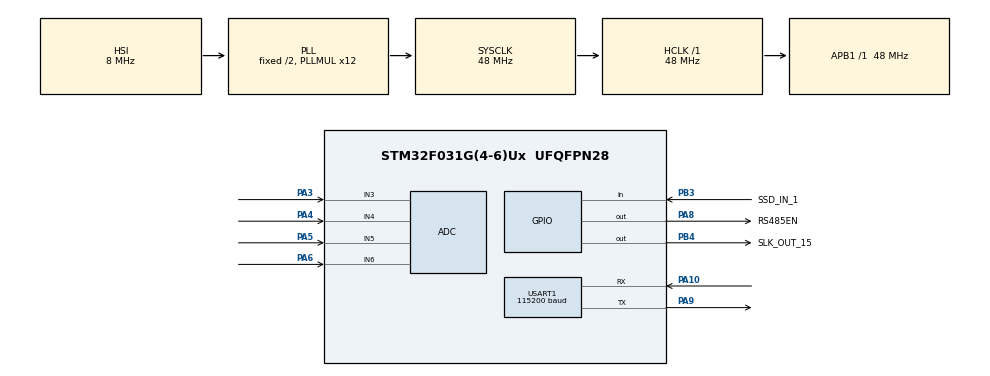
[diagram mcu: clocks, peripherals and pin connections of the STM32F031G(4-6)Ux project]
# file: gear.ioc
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ADC.ContinuousConvMode=ENABLE
ADC.DMAContinuousRequests=ENABLE
Dma.ADC.0.Direction=DMA_PERIPH_TO_MEMORY
Dma.ADC.0.Instance=DMA1_Channel1
Dma.ADC.0.MemDataAlignment=DMA_MDATAALIGN_HALFWORD
Dma.ADC.0.MemInc=DMA_MINC_ENABLE
Dma.ADC.0.Mode=DMA_CIRCULAR
Dma.ADC.0.PeriphDataAlignment=DMA_PDATAALIGN_HALFWORD
Dma.ADC.0.PeriphInc=DMA_PINC_DISABLE
Dma.ADC.0.Priority=DMA_PRIORITY_LOW
Dma.Request0=ADC
Dma.Request1=USART1_RX
Dma.Request2=USART1_TX
Dma.USART1_RX.1.Direction=DMA_PERIPH_TO_MEMORY
Dma.USART1_RX.1.Instance=DMA1_Channel3
Dma.USART1_RX.1.MemDataAlignment=DMA_MDATAALIGN_BYTE
Dma.USART1_RX.1.MemInc=DMA_MINC_ENABLE
Dma.USART1_RX.1.Mode=DMA_NORMAL
Dma.USART1_RX.1.PeriphDataAlignment=DMA_PDATAALIGN_BYTE
Dma.USART1_RX.1.PeriphInc=DMA_PINC_DISABLE
Dma.USART1_RX.1.Priority=DMA_PRIORITY_LOW
Dma.USART1_TX.2.Direction=DMA_MEMORY_TO_PERIPH
Dma.USART1_TX.2.Instance=DMA1_Channel2
Dma.USART1_TX.2.MemDataAlignment=DMA_MDATAALIGN_BYTE
Dma.USART1_TX.2.MemInc=DMA_MINC_ENABLE
Dma.USART1_TX.2.Mode=DMA_NORMAL
Dma.USART1_TX.2.PeriphDataAlignment=DMA_PDATAALIGN_BYTE
Dma.USART1_TX.2.PeriphInc=DMA_PINC_DISABLE
Dma.USART1_TX.2.Priority=DMA_PRIORITY_LOW
Mcu.Family=STM32F0
Mcu.Name=STM32F031G(4-6)Ux
Mcu.Package=UFQFPN28
NVIC.DMA1_Channel1_IRQn=true\:0\:0\:false\:false\:true\:false\:true\:true
NVIC.DMA1_Channel2_3_IRQn=true\:0\:0\:false\:false\:true\:false\:true\:true
PA10.Mode=Asynchronous
PA10.Signal=USART1_RX
PA3.Mode=IN3
PA3.Signal=ADC_IN3
PA4.Mode=IN4
PA4.Signal=ADC_IN4
PA5.Mode=IN5
PA5.Signal=ADC_IN5
PA6.Mode=IN6
PA6.Signal=ADC_IN6
PA8.GPIO_Label=RS485EN
PA8.Signal=GPIO_Output
PA9.Mode=Asynchronous
PA9.Signal=USART1_TX
PB3.GPIO_Label=SSD_IN_1
PB3.GPIO_PuPd=GPIO_PULLUP
PB3.Signal=GPIO_Input
PB4.GPIO_Label=SLK_OUT_15
PB4.Signal=GPIO_Output
PF0-OSC_IN.Mode=HSE-External-Oscillator
PF0-OSC_IN.Signal=RCC_OSC_IN
PF1-OSC_OUT.Mode=HSE-External-Oscillator
PF1-OSC_OUT.Signal=RCC_OSC_OUT
ProjectManager.HeapSize=0x200
ProjectManager.StackSize=0x400
ProjectManager.TargetToolchain=Makefile
RCC.AHBFreq_Value=48000000
RCC.APB1Freq_Value=48000000
RCC.APB1TimFreq_Value=48000000
RCC.HCLKFreq_Value=48000000
RCC.PLLMUL=RCC_PLL_MUL12
RCC.SYSCLKFreq_VALUE=48000000
RCC.SYSCLKSource=RCC_SYSCLKSOURCE_PLLCLK
USART1.BaudRate=115200
USART1.VirtualMode-Asynchronous=VM_ASYNC
board=custom

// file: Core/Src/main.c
/* USER CODE BEGIN Header */
/**
 ******************************************************************************
 * @file           : main.c
 * @brief          : Main program body
 ******************************************************************************
 * @attention
 *
 * Copyright (c) 2024 STMicroelectronics.
 * All rights reserved.
 *
 * This software is licensed under terms that can be found in the LICENSE file
 * in the root directory of this software component.
 * If no LICENSE file comes with this software, it is provided AS-IS.
 *
 ******************************************************************************
 */
/* USER CODE END Header */
#include "main.h"

ADC_HandleTypeDef hadc;
DMA_HandleTypeDef hdma_adc;

UART_HandleTypeDef huart1;
DMA_HandleTypeDef hdma_usart1_rx;
DMA_HandleTypeDef hdma_usart1_tx;

void SystemClock_Config(void);
static void MX_GPIO_Init(void);
static void MX_DMA_Init(void);
static void MX_ADC_Init(void);
static void MX_USART1_UART_Init(void);
/* USER CODE BEGIN PFP */
signed int UPTIMEOUT = 50; // 50的话表示 50ms 主动上传 -1表示不主动上传
#define SUMC 100
#define SUMCHAN 4
unsigned short AdDataOrig[SUMC][SUMCHAN]; // ADC DMA缓存
unsigned short AdcValue[5];               // ADC的平均值结果
unsigned int poolcnt = 0;
unsigned short readmavalue = 0;
#define ssi_clk_h HAL_GPIO_WritePin(GPIOB, GPIO_PIN_4, GPIO_PIN_SET)
#define ssi_clk_l HAL_GPIO_WritePin(GPIOB, GPIO_PIN_4, GPIO_PIN_RESET)
#define ssi_read_data HAL_GPIO_ReadPin(GPIOB, GPIO_PIN_3) == GPIO_PIN_SET

void delay_ns(unsigned int ndelay)
{
  unsigned int i = 0;
  unsigned int j = 0;
  for (i = 0; i < 3; i++)
  {
    j++;
  }
}

void delay_us(unsigned int udelay)
{
  unsigned int i = 0;
  for (i = 0; i < udelay; i++)
  {
    delay_ns(600);
  }
}

void delay_ms(unsigned int nms)
{
  for (; nms > 0; nms--)
  {
    delay_us(1000);
  }
}

// 角度传感器 SSI 12bits

unsigned short readma710(void)
{
  unsigned short buf = 0;

  ssi_clk_h;
  delay_us(1);
  ssi_clk_l;
  delay_us(1); // 第一个虚拟时钟
  ssi_clk_h;
  delay_us(1);
  if (ssi_read_data)
    buf = buf | 0x8000;
  ssi_clk_l;
  delay_us(1);
  ssi_clk_h;
  delay_us(1);
  if (ssi_read_data)
    buf = buf | 0x4000;
  ssi_clk_l;
  delay_us(1);
  ssi_clk_h;
  delay_us(1);
  if (ssi_read_data)
    buf = buf | 0x2000;
  ssi_clk_l;
  delay_us(1);
  ssi_clk_h;
  delay_us(1);
  if (ssi_read_data)
    buf = buf | 0x1000;
  ssi_clk_l;
  delay_us(1);
  ssi_clk_h;
  delay_us(1);
  if (ssi_read_data)
    buf = buf | 0x0800;
  ssi_clk_l;
  delay_us(1);
  ssi_clk_h;
  delay_us(1);
  if (ssi_read_data)
    buf = buf | 0x0400;
  ssi_clk_l;
  delay_us(1);
  ssi_clk_h;
  delay_us(1);
  if (ssi_read_data)
    buf = buf | 0x0200;
  ssi_clk_l;
  delay_us(1);
  ssi_clk_h;
  delay_us(1);
  if (ssi_read_data)
    buf = buf | 0x0100;
  ssi_clk_l;
  delay_us(1);
  ssi_clk_h;
  delay_us(1);
  if (ssi_read_data)
    buf = buf | 0x0080;
  ssi_clk_l;
  delay_us(1);
  ssi_clk_h;
  delay_us(1);
  if (ssi_read_data)
    buf = buf | 0x0040;
  ssi_clk_l;
  delay_us(1);
  ssi_clk_h;
  delay_us(1);
  if (ssi_read_data)
    buf = buf | 0x0020;
  ssi_clk_l;
  delay_us(1);
  ssi_clk_h;
  delay_us(1);
  if (ssi_read_data)
    buf = buf | 0x0010;
  ssi_clk_l;
  delay_us(1);
  ssi_clk_h;
  delay_us(1);
  if (ssi_read_data)
    buf = buf | 0x0008;
  ssi_clk_l;
  delay_us(1);
  ssi_clk_h;
  delay_us(1);
  if (ssi_read_data)
    buf = buf | 0x0004;
  ssi_clk_l;
  delay_us(1);
  ssi_clk_h;
  delay_us(1);
  if (ssi_read_data)
    buf = buf | 0x0002;
  ssi_clk_l;
  delay_us(1);
  ssi_clk_h;
  delay_us(1);
  if (ssi_read_data)
    buf = buf | 0x0001;
  ssi_clk_l;
  delay_us(1);

  return buf;
}

//  开启ADC转换
void startADC(void)
{
  HAL_ADC_Start_DMA(&hadc, (uint32_t *)&AdDataOrig, SUMC * SUMCHAN);
}

// 关闭ADC转换
void stopADC(void)
{
  HAL_ADC_Stop_DMA(&hadc);
}

// ADC转换完成的回调 hal中拷贝出来的  在这个回调中计算adc的平均值
void HAL_ADC_ConvCpltCallback(ADC_HandleTypeDef *hadc)
{
  /* Prevent unused argument(s) compilation warning */
  UNUSED(hadc);
  unsigned int i, j;
  unsigned int tmp[6] = {0, 0, 0, 0, 0, 0};
  for (j = 0; j < 5; j++) // 通道数量
  {
    tmp[j] = 0;

    switch (j)
    {
    case 0: // 获取ADC数值
    case 1:
    case 2:
    case 3:
      for (i = 0; i < SUMC; i++)
      {
        tmp[j] = tmp[j] + AdDataOrig[i][j];
      }
      AdcValue[j] = tmp[j] / SUMC;
      break;
    case 4: // 获取角度值
      AdcValue[4] = readma710();
      break;
    }
    tmp[j] = 0;
  }
}

// 主动长传传感器数据 4个模拟量 1个角度数据
void AcUpload(unsigned short *PUPS)
{
  unsigned char i;
  char TxBufU1[20];
  i = 0;
  TxBufU1[i++] = 0xFA;
  TxBufU1[i++] = 0xF5;
  TxBufU1[i++] = PUPS[0] >> 0;
  TxBufU1[i++] = PUPS[0] >> 8;
  TxBufU1[i++] = PUPS[1] >> 0;
  TxBufU1[i++] = PUPS[1] >> 8;
  TxBufU1[i++] = PUPS[2] >> 0;
  TxBufU1[i++] = PUPS[2] >> 8;
  TxBufU1[i++] = PUPS[3] >> 0;
  TxBufU1[i++] = PUPS[3] >> 8;
  TxBufU1[i++] = PUPS[4] >> 0;
  TxBufU1[i++] = PUPS[4] >> 8;
  TxBufU1[i++] = 0xFA;
  TxBufU1[i++] = 0xFD;
  HAL_GPIO_WritePin(GPIOA, GPIO_PIN_8, GPIO_PIN_SET);
  HAL_UART_Transmit_DMA(&huart1, (const uint8_t *)TxBufU1, i); // DMA
}
/* USER CODE END PFP */

int main(void)
{

  /* MCU Configuration--------------------------------------------------------*/

  /* Reset of all peripherals, Initializes the Flash interface and the Systick. */
  HAL_Init();

  /* Configure the system clock */
  SystemClock_Config();

  /* Initialize all configured peripherals */
  MX_GPIO_Init();
  MX_DMA_Init();
  MX_ADC_Init();
  MX_USART1_UART_Init();
  /* USER CODE BEGIN 2 */
  startADC();
  /* USER CODE END 2 */

  /* Infinite loop */
  while (1)
  {

    /* USER CODE BEGIN 3 */
    if (poolcnt > UPTIMEOUT && UPTIMEOUT != -1)
    {
      poolcnt = 0;
      AcUpload(AdcValue); // 主动长传传感器数据 4个模拟量 1个角度数据
    }
  }
  /* USER CODE END 3 */
}

void SystemClock_Config(void)
{
  RCC_OscInitTypeDef RCC_OscInitStruct = {0};
  RCC_ClkInitTypeDef RCC_ClkInitStruct = {0};
  RCC_PeriphCLKInitTypeDef PeriphClkInit = {0};

  /** Initializes the RCC Oscillators according to the specified parameters
   * in the RCC_OscInitTypeDef structure.
   */
  RCC_OscInitStruct.OscillatorType = RCC_OSCILLATORTYPE_HSI | RCC_OSCILLATORTYPE_HSI14;
  RCC_OscInitStruct.HSIState = RCC_HSI_ON;
  RCC_OscInitStruct.HSI14State = RCC_HSI14_ON;
  RCC_OscInitStruct.HSICalibrationValue = RCC_HSICALIBRATION_DEFAULT;
  RCC_OscInitStruct.HSI14CalibrationValue = 16;
  RCC_OscInitStruct.PLL.PLLState = RCC_PLL_ON;
  RCC_OscInitStruct.PLL.PLLSource = RCC_PLLSOURCE_HSI;
  RCC_OscInitStruct.PLL.PLLMUL = RCC_PLL_MUL12;
  RCC_OscInitStruct.PLL.PREDIV = RCC_PREDIV_DIV1;
  if (HAL_RCC_OscConfig(&RCC_OscInitStruct) != HAL_OK)
  {
    Error_Handler();
  }

  /** Initializes the CPU, AHB and APB buses clocks
   */
  RCC_ClkInitStruct.ClockType = RCC_CLOCKTYPE_HCLK | RCC_CLOCKTYPE_SYSCLK | RCC_CLOCKTYPE_PCLK1;
  RCC_ClkInitStruct.SYSCLKSource = RCC_SYSCLKSOURCE_PLLCLK;
  RCC_ClkInitStruct.AHBCLKDivider = RCC_SYSCLK_DIV1;
  RCC_ClkInitStruct.APB1CLKDivider = RCC_HCLK_DIV1;

  if (HAL_RCC_ClockConfig(&RCC_ClkInitStruct, FLASH_LATENCY_1) != HAL_OK)
  {
    Error_Handler();
  }
  PeriphClkInit.PeriphClockSelection = RCC_PERIPHCLK_USART1;
  PeriphClkInit.Usart1ClockSelection = RCC_USART1CLKSOURCE_PCLK1;
  if (HAL_RCCEx_PeriphCLKConfig(&PeriphClkInit) != HAL_OK)
  {
    Error_Handler();
  }
}

static void MX_ADC_Init(void)
{

  ADC_ChannelConfTypeDef sConfig = {0};

  /** Configure the global features of the ADC (Clock, Resolution, Data Alignment and number of conversion)
   */
  hadc.Instance = ADC1;
  hadc.Init.ClockPrescaler = ADC_CLOCK_ASYNC_DIV1;
  hadc.Init.Resolution = ADC_RESOLUTION_12B;
  hadc.Init.DataAlign = ADC_DATAALIGN_RIGHT;
  hadc.Init.ScanConvMode = ADC_SCAN_DIRECTION_FORWARD;
  hadc.Init.EOCSelection = ADC_EOC_SINGLE_CONV;
  hadc.Init.LowPowerAutoWait = DISABLE;
  hadc.Init.LowPowerAutoPowerOff = DISABLE;
  hadc.Init.ContinuousConvMode = ENABLE;
  hadc.Init.DiscontinuousConvMode = DISABLE;
  hadc.Init.ExternalTrigConv = ADC_SOFTWARE_START;
  hadc.Init.ExternalTrigConvEdge = ADC_EXTERNALTRIGCONVEDGE_NONE;
  hadc.Init.DMAContinuousRequests = ENABLE;
  hadc.Init.Overrun = ADC_OVR_DATA_PRESERVED;
  if (HAL_ADC_Init(&hadc) != HAL_OK)
  {
    Error_Handler();
  }

  /** Configure for the selected ADC regular channel to be converted.
   */
  sConfig.Channel = ADC_CHANNEL_3;
  sConfig.Rank = ADC_RANK_CHANNEL_NUMBER;
  sConfig.SamplingTime = ADC_SAMPLETIME_239CYCLES_5;
  if (HAL_ADC_ConfigChannel(&hadc, &sConfig) != HAL_OK)
  {
    Error_Handler();
  }

  /** Configure for the selected ADC regular channel to be converted.
   */
  sConfig.Channel = ADC_CHANNEL_4;
  if (HAL_ADC_ConfigChannel(&hadc, &sConfig) != HAL_OK)
  {
    Error_Handler();
  }

  /** Configure for the selected ADC regular channel to be converted.
   */
  sConfig.Channel = ADC_CHANNEL_5;
  if (HAL_ADC_ConfigChannel(&hadc, &sConfig) != HAL_OK)
  {
    Error_Handler();
  }

  /** Configure for the selected ADC regular channel to be converted.
   */
  sConfig.Channel = ADC_CHANNEL_6;
  if (HAL_ADC_ConfigChannel(&hadc, &sConfig) != HAL_OK)
  {
    Error_Handler();
  }
}

static void MX_USART1_UART_Init(void)
{

  huart1.Instance = USART1;
  huart1.Init.BaudRate = 115200;
  huart1.Init.WordLength = UART_WORDLENGTH_8B;
  huart1.Init.StopBits = UART_STOPBITS_1;
  huart1.Init.Parity = UART_PARITY_NONE;
  huart1.Init.Mode = UART_MODE_TX_RX;
  huart1.Init.HwFlowCtl = UART_HWCONTROL_NONE;
  huart1.Init.OverSampling = UART_OVERSAMPLING_16;
  huart1.Init.OneBitSampling = UART_ONE_BIT_SAMPLE_DISABLE;
  huart1.AdvancedInit.AdvFeatureInit = UART_ADVFEATURE_NO_INIT;
  if (HAL_UART_Init(&huart1) != HAL_OK)
  {
    Error_Handler();
  }
}

static void MX_DMA_Init(void)
{

  /* DMA controller clock enable */
  __HAL_RCC_DMA1_CLK_ENABLE();

  /* DMA interrupt init */
  /* DMA1_Channel1_IRQn interrupt configuration */
  HAL_NVIC_SetPriority(DMA1_Channel1_IRQn, 0, 0);
  HAL_NVIC_EnableIRQ(DMA1_Channel1_IRQn);
  /* DMA1_Channel2_3_IRQn interrupt configuration */
  HAL_NVIC_SetPriority(DMA1_Channel2_3_IRQn, 0, 0);
  HAL_NVIC_EnableIRQ(DMA1_Channel2_3_IRQn);
}

static void MX_GPIO_Init(void)
{
  GPIO_InitTypeDef GPIO_InitStruct = {0};

  /* GPIO Ports Clock Enable */
  __HAL_RCC_GPIOF_CLK_ENABLE();
  __HAL_RCC_GPIOA_CLK_ENABLE();
  __HAL_RCC_GPIOB_CLK_ENABLE();

  /*Configure GPIO pin Output Level */
  HAL_GPIO_WritePin(RS485EN_GPIO_Port, RS485EN_Pin, GPIO_PIN_RESET);

  /*Configure GPIO pin Output Level */
  HAL_GPIO_WritePin(SLK_OUT_15_GPIO_Port, SLK_OUT_15_Pin, GPIO_PIN_RESET);

  /*Configure GPIO pin : RS485EN_Pin */
  GPIO_InitStruct.Pin = RS485EN_Pin;
  GPIO_InitStruct.Mode = GPIO_MODE_OUTPUT_PP;
  GPIO_InitStruct.Pull = GPIO_NOPULL;
  GPIO_InitStruct.Speed = GPIO_SPEED_FREQ_LOW;
  HAL_GPIO_Init(RS485EN_GPIO_Port, &GPIO_InitStruct);

  /*Configure GPIO pin : SSD_IN_1_Pin */
  GPIO_InitStruct.Pin = SSD_IN_1_Pin;
  GPIO_InitStruct.Mode = GPIO_MODE_INPUT;
  GPIO_InitStruct.Pull = GPIO_PULLUP;
  HAL_GPIO_Init(SSD_IN_1_GPIO_Port, &GPIO_InitStruct);

  /*Configure GPIO pin : SLK_OUT_15_Pin */
  GPIO_InitStruct.Pin = SLK_OUT_15_Pin;
  GPIO_InitStruct.Mode = GPIO_MODE_OUTPUT_PP;
  GPIO_InitStruct.Pull = GPIO_NOPULL;
  GPIO_InitStruct.Speed = GPIO_SPEED_FREQ_LOW;
  HAL_GPIO_Init(SLK_OUT_15_GPIO_Port, &GPIO_InitStruct);
}

void Error_Handler(void)
{
  __disable_irq();
  while (1)
  {
  }
}
